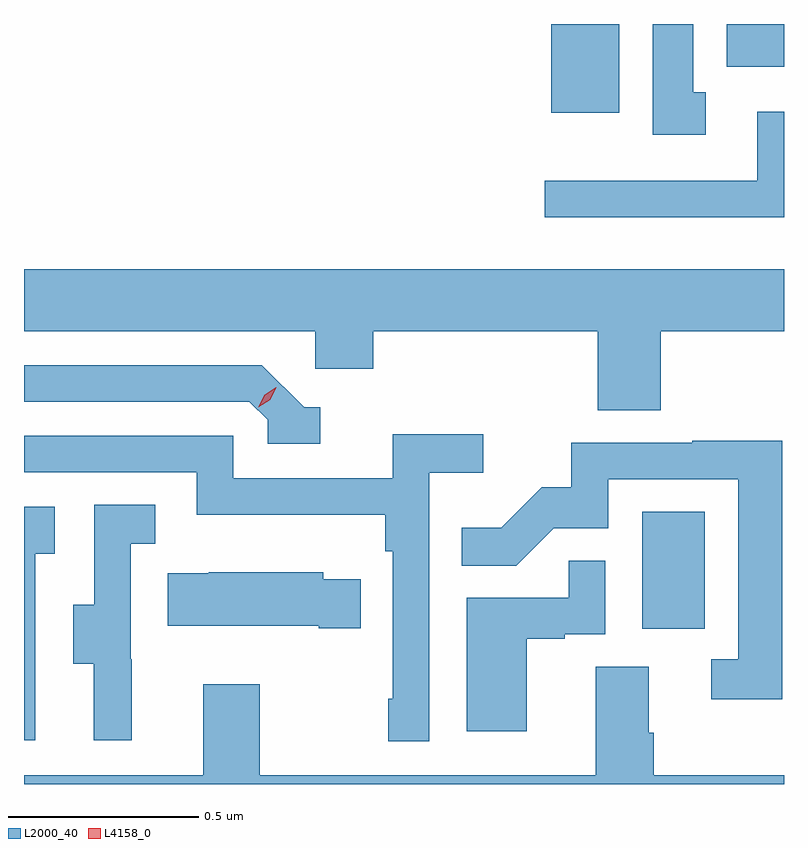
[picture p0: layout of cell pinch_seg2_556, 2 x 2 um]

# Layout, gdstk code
import gdstk
lib = gdstk.Library(unit=1e-6, precision=1e-09)
def R(c, l, rs):  # rectangles x0, y0, x1, y1
    for r in rs: c.add(gdstk.rectangle(r[:2], r[2:], *l))
def P(c, l, *ps):  # polygons
    for p in ps: c.add(gdstk.Polygon(p, *l))
L2000_40 = (2000, 40)
L4158_0 = (4158, 0)

pinch_seg2_556 = lib.new_cell('pinch_seg2_556')
R(pinch_seg2_556, L2000_40, [(1109.75,620.214,1109.914,620.521), (1109.51,621.572,1109.689,621.805), (1109.972,621.692,1110.123,621.805)])
P(pinch_seg2_556, L2000_40, [(1109.917,621.626),(1109.884,621.626),(1109.884,621.805),(1109.777,621.805),(1109.777,621.513),(1109.917,621.513)],
  [(1110.123,621.574),(1110.053,621.574),(1110.053,621.393),(1109.493,621.393),(1109.493,621.296),(1110.123,621.296)],
  [(1109.798,620.996),(1110.123,620.996),(1110.123,621.16),(1108.123,621.16),(1108.123,620.996),(1108.89,620.996),(1108.89,620.898),(1109.042,620.898),(1109.042,620.996),(1109.633,620.996),(1109.633,620.788),(1109.798,620.788)],
  [(1108.903,620.796),(1108.86,620.796),(1108.749,620.907),(1108.123,620.907),(1108.123,620.811),(1108.716,620.811),(1108.764,620.763),(1108.764,620.7),(1108.903,620.7)],
  [(1109.19,620.624),(1109.332,620.624),(1109.332,620.726),(1109.093,620.726),(1109.093,620.61),(1108.674,620.61),(1108.674,620.721),(1108.123,620.721),(1108.123,620.625),(1108.578,620.625),(1108.578,620.513),(1109.074,620.513),(1109.074,620.417),(1109.094,620.417),(1109.094,620.029),(1109.082,620.029),(1109.082,619.917),(1109.19,619.917)],
  [(1110.119,620.708),(1109.881,620.708),(1109.881,620.703),(1109.563,620.703),(1109.563,620.586),(1109.486,620.586),(1109.379,620.479),(1109.275,620.479),(1109.275,620.38),(1109.419,620.38),(1109.517,620.478),(1109.661,620.478),(1109.661,620.607),(1110.003,620.607),(1110.003,620.133),(1109.931,620.133),(1109.931,620.028),(1110.119,620.028)],
  [(1108.406,620.133),(1108.404,620.133),(1108.404,620.437),(1108.468,620.437),(1108.468,620.54),(1108.308,620.54),(1108.308,620.277),(1108.253,620.277),(1108.253,620.122),(1108.307,620.122),(1108.307,619.92),(1108.406,619.92)],
  [(1108.152,620.411),(1108.204,620.411),(1108.204,620.535),(1108.123,620.535),(1108.123,619.92),(1108.152,619.92)],
  [(1109.446,620.187),(1109.546,620.187),(1109.546,620.199),(1109.652,620.199),(1109.652,620.393),(1109.557,620.393),(1109.557,620.295),(1109.288,620.295),(1109.288,619.944),(1109.446,619.944)],
  [(1109.009,620.344),(1108.911,620.344),(1108.911,620.362),(1108.609,620.362),(1108.609,620.359),(1108.501,620.359),(1108.501,620.222),(1108.898,620.222),(1108.898,620.215),(1109.009,620.215)],
  [(1110.123,619.828),(1109.78,619.828),(1109.78,619.94),(1109.767,619.94),(1109.767,620.114),(1109.627,620.114),(1109.627,619.828),(1108.743,619.828),(1108.743,620.068),(1108.595,620.068),(1108.595,619.828),(1108.123,619.828),(1108.123,619.805),(1110.123,619.805)])
P(pinch_seg2_556, L4158_0, [(1108.74,620.797),(1108.74,620.797),(1108.756,620.83),(1108.787,620.849),(1108.787,620.849),(1108.787,620.849),(1108.771,620.816),(1108.74,620.797)])

lib.write_gds('pinch_seg2_556.gds')
